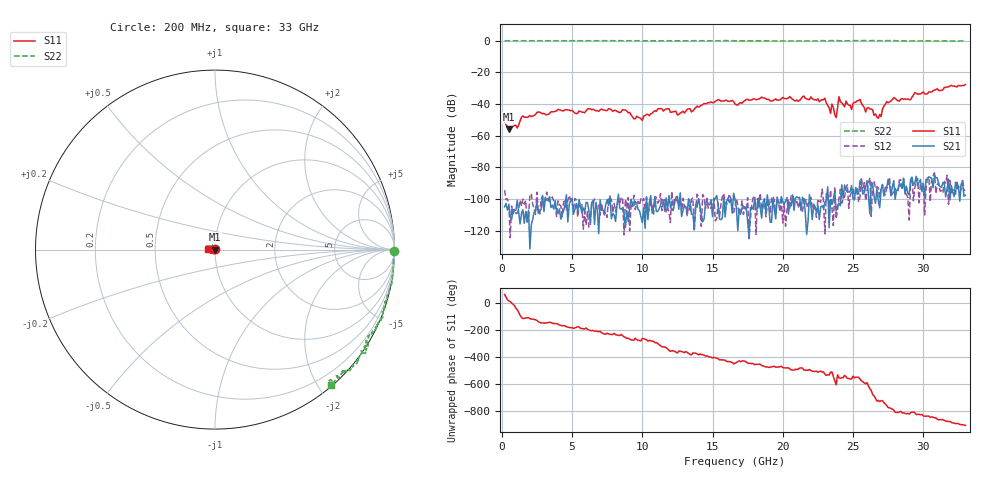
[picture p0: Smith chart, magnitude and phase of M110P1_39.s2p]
# GHZ S RI R 50
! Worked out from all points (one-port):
!   329 points, 200 MHz to 33 GHz, reference 50 ohm
!   lowest |S11| = -55.9 dB at 500 MHz (marker M1), VSWR 1.00, Z = 50.2 + j0.0498 ohm
!   |S11| at or under -10 dB: start of sweep to end of sweep
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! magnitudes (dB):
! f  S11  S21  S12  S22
! 200 MHz  -51.5  -105.0  -94.4  0.0
! 500 MHz  -55.9  -104.1  -103.0  0.0
! 2.5 GHz  -45.3  -102.1  -95.7  0.0
! 5.7 GHz  -45.1  -108.8  -103.6  0.0
! 8.6 GHz  -43.6  -105.6  -99.1  0.0
! 10 GHz  -50.4  -114.9  -101.4  0.0
! 11.2 GHz  -42.9  -106.3  -101.1  0.0
! 12.5 GHz  -47.0  -98.4  -101.7  -0.1
! 15.4 GHz  -37.2  -104.6  -102.6  0.0
! 16.6 GHz  -40.0  -100.2  -104.9  0.0
! 22.1 GHz  -36.7  -113.1  -105.9  -0.2
! 23 GHz  -36.3  -102.1  -122.1  -0.1
! 23.4 GHz  -45.9  -100.3  -94.5  0.1
! 23.5 GHz  -40.1  -103.6  -106.0  0.1
! 23.8 GHz  -48.6  -107.5  -112.5  0.1
! 24 GHz  -35.4  -102.6  -99.9  -0.1
! 24.9 GHz  -43.4  -91.6  -95.8  0.0
! 25.5 GHz  -37.1  -88.5  -98.7  0.0
! 25.9 GHz  -45.1  -92.6  -101.0  0.1
! 26.8 GHz  -49.0  -101.1  -93.0  0.0
! 27.6 GHz  -38.8  -90.6  -86.5  0.0
! 33 GHz  -27.7  -97.7  -94.3  -0.1
